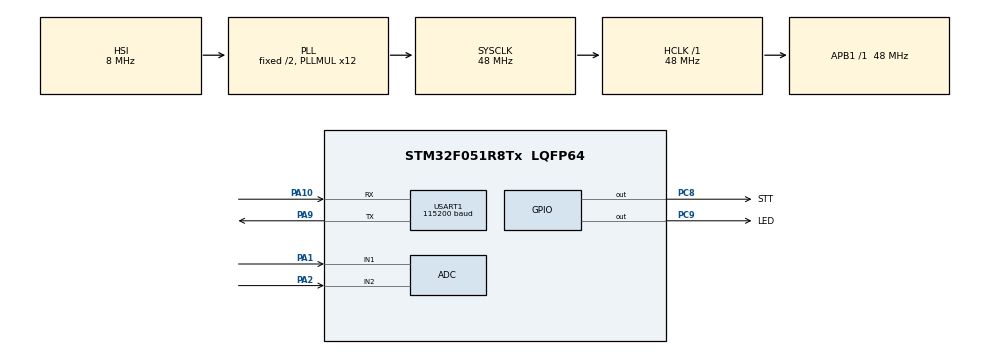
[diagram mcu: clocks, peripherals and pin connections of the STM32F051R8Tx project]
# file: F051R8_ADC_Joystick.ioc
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Mcu.Family=STM32F0
PA10.Mode=Asynchronous
Dma.ADC.0.Mode=DMA_CIRCULAR
PC9.GPIO_Label=LED
USART1.BaudRate=115200
PA14.GPIO_Label=SWCLK
PC8.Signal=GPIO_Output
Dma.ADC.0.Priority=DMA_PRIORITY_LOW
RCC.SYSCLKSource=RCC_SYSCLKSOURCE_PLLCLK
ProjectManager.StackSize=0x400
Dma.ADC.0.PeriphDataAlignment=DMA_PDATAALIGN_HALFWORD
PC8.GPIO_Label=STT
USART1.VirtualMode-Asynchronous=VM_ASYNC
PA13.Signal=SYS_SWDIO
PA9.Mode=Asynchronous
ProjectManager.TargetToolchain=STM32CubeIDE
Dma.ADC.0.PeriphInc=DMA_PINC_DISABLE
RCC.HCLKFreq_Value=48000000
PA9.Signal=USART1_TX
PA1.Signal=ADC_IN1
RCC.AHBFreq_Value=48000000
Dma.ADC.0.Direction=DMA_PERIPH_TO_MEMORY
ADC.SamplingTime=ADC_SAMPLETIME_239CYCLES_5
ADC.DMAContinuousRequests=ENABLE
board=STM32F0DISCOVERY
RCC.PLLMUL=RCC_PLL_MUL12
PA1.Mode=IN1
PA14.Mode=Serial_Wire
ADC.EOCSelection=ADC_EOC_SEQ_CONV
PA13.Mode=Serial_Wire
Mcu.Name=STM32F051R8Tx
PA2.Signal=ADC_IN2
PA13.GPIO_Label=SWDIO
Dma.ADC.0.MemInc=DMA_MINC_ENABLE
RCC.SYSCLKFreq_VALUE=48000000
Mcu.Package=LQFP64
Dma.ADC.0.Instance=DMA1_Channel1
PA10.Signal=USART1_RX
PA14.Signal=SYS_SWCLK
ProjectManager.HeapSize=0x200
Dma.ADC.0.MemDataAlignment=DMA_MDATAALIGN_HALFWORD
RCC.APB1TimFreq_Value=48000000
PA2.Mode=IN2
PC9.Signal=GPIO_Output
NVIC.DMA1_Channel1_IRQn=true\:0\:0\:false\:false\:true\:false\:true
NVIC.USART1_IRQn=true\:0\:0\:false\:false\:true\:true\:true
Dma.Request0=ADC
RCC.APB1Freq_Value=48000000
ADC.ContinuousConvMode=ENABLE

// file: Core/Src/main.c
/* USER CODE BEGIN Header */
/**
  ******************************************************************************
  * @file           : main.c
  * @brief          : Main program body
  ******************************************************************************
  * @attention
  *
  * <h2><center>&copy; Copyright (c) 2021 STMicroelectronics.
  * All rights reserved.</center></h2>
  *
  * This software component is licensed by ST under BSD 3-Clause license,
  * the "License"; You may not use this file except in compliance with the
  * License. You may obtain a copy of the License at:
  *                        opensource.org/licenses/BSD-3-Clause
  *
  ******************************************************************************
  */
/* USER CODE END Header */
#include "main.h"

/* USER CODE BEGIN Includes */
#include <stdio.h>
#include <string.h>
/* USER CODE END Includes */

/* USER CODE BEGIN PD */
#define ADC_1_CH_SINGLE_MODE
//#define ADC_N_CH_SINGLE_MODE
//#define ADC_1_CH_CONTINUOUS_MODE
//#define ADC_N_CH_CONTINUOUS_MODE
//#define ADC_USE_DMA
//#define ADC_OUTPUT_RAW
/* USER CODE END PD */

ADC_HandleTypeDef hadc;
DMA_HandleTypeDef hdma_adc;

UART_HandleTypeDef huart1;

/* USER CODE BEGIN PV */
#define JS_X 0
#define JS_Y 1
uint16_t joystick[2] = {0};
char buffer[12] = {0}; // xxxx,yyyy\r\n
/* USER CODE END PV */

void SystemClock_Config(void);
static void MX_GPIO_Init(void);
static void MX_DMA_Init(void);
static void MX_ADC_Init(void);
static void MX_USART1_UART_Init(void);

/* USER CODE BEGIN 0 */
void MX_ADC_Init_Single_Conversion(void)
{
  /** Configure the global features of the ADC
      (Clock, Resolution, Data Alignment and number of conversion) */
  hadc.Instance = ADC1;
  hadc.Init.ClockPrescaler = ADC_CLOCK_ASYNC_DIV1;
  hadc.Init.Resolution = ADC_RESOLUTION_12B;
  hadc.Init.DataAlign = ADC_DATAALIGN_RIGHT;
  hadc.Init.ScanConvMode = ADC_SCAN_DIRECTION_FORWARD;
  hadc.Init.EOCSelection = ADC_EOC_SINGLE_CONV;
  hadc.Init.LowPowerAutoWait = DISABLE;
  hadc.Init.LowPowerAutoPowerOff = DISABLE;
  hadc.Init.ContinuousConvMode = DISABLE;
  hadc.Init.DiscontinuousConvMode = DISABLE;
  hadc.Init.ExternalTrigConv = ADC_SOFTWARE_START;
  hadc.Init.ExternalTrigConvEdge = ADC_EXTERNALTRIGCONVEDGE_NONE;
  hadc.Init.DMAContinuousRequests = DISABLE;
  hadc.Init.Overrun = ADC_OVR_DATA_PRESERVED;
  if (HAL_ADC_Init(&hadc) != HAL_OK)
  {
    Error_Handler();
  }
}

void MX_ADC_Init_Continuous_Conversion(void)
{
  hadc.Instance = ADC1;
  hadc.Init.ClockPrescaler = ADC_CLOCK_ASYNC_DIV1;
  hadc.Init.Resolution = ADC_RESOLUTION_12B;
  hadc.Init.DataAlign = ADC_DATAALIGN_RIGHT;
  hadc.Init.ScanConvMode = ADC_SCAN_DIRECTION_FORWARD;
  hadc.Init.EOCSelection = ADC_EOC_SEQ_CONV;
  hadc.Init.LowPowerAutoWait = DISABLE;
  hadc.Init.LowPowerAutoPowerOff = DISABLE;
  hadc.Init.ContinuousConvMode = ENABLE;
  hadc.Init.DiscontinuousConvMode = DISABLE;
  hadc.Init.ExternalTrigConv = ADC_SOFTWARE_START;
  hadc.Init.ExternalTrigConvEdge = ADC_EXTERNALTRIGCONVEDGE_NONE;
  hadc.Init.DMAContinuousRequests = ENABLE;
  hadc.Init.Overrun = ADC_OVR_DATA_PRESERVED;
  if (HAL_ADC_Init(&hadc) != HAL_OK)
  {
    Error_Handler();
  }
}

void Add_ADC_Channel(ADC_HandleTypeDef* hadc, uint32_t channel, uint32_t sampling_time) {
  ADC_ChannelConfTypeDef sConfig = {0};
  /** Configure for the selected ADC regular channel to be converted. */
  sConfig.Channel = channel;
  sConfig.Rank = ADC_RANK_CHANNEL_NUMBER;
  sConfig.SamplingTime = sampling_time;
  if (HAL_ADC_ConfigChannel(hadc, &sConfig) != HAL_OK)
  {
    Error_Handler();
  }
}

uint32_t Read_ADC_Channel(ADC_HandleTypeDef* hadc, uint32_t channel, uint32_t sampling_time) {
  uint32_t adc_value = 0;
  // clear all channel
  hadc->Instance->CHSELR = 0;
  Add_ADC_Channel(hadc, channel, sampling_time);
  // read
  HAL_ADC_Start(hadc);
  HAL_ADC_PollForConversion(hadc, HAL_MAX_DELAY);
  adc_value = HAL_ADC_GetValue(hadc);
  HAL_ADC_Stop(hadc);
  // clear all channel
  hadc->Instance->CHSELR = 0;
  // return
  return adc_value;
}

void HAL_ADC_ConvCpltCallback(ADC_HandleTypeDef* hadc) {
  HAL_GPIO_TogglePin(STT_GPIO_Port, STT_Pin);
}
/* USER CODE END 0 */

int main(void)
{

  /* MCU Configuration--------------------------------------------------------*/

  /* Reset of all peripherals, Initializes the Flash interface and the Systick. */
  HAL_Init();

  /* Configure the system clock */
  SystemClock_Config();

  /* Initialize all configured peripherals */
  MX_GPIO_Init();
  MX_DMA_Init();
  MX_ADC_Init();
  MX_USART1_UART_Init();
  /* USER CODE BEGIN 2 */
#if defined(ADC_1_CH_SINGLE_MODE) || defined(ADC_N_CH_SINGLE_MODE)
  MX_ADC_Init_Single_Conversion();
#endif
  /* USER CODE END 2 */
#if defined(ADC_1_CH_CONTINUOUS_MODE) || defined(ADC_N_CH_CONTINUOUS_MODE)
  MX_ADC_Init_Continuous_Conversion();
#endif
  // clear all channel
  (&hadc)->Instance->CHSELR = 0;
  /* Infinite loop */
  /* USER CODE BEGIN WHILE */
#if defined(ADC_N_CH_SINGLE_MODE) || defined(ADC_N_CH_CONTINUOUS_MODE)
  Add_ADC_Channel(&hadc, ADC_CHANNEL_1, ADC_SAMPLETIME_239CYCLES_5);
  Add_ADC_Channel(&hadc, ADC_CHANNEL_2, ADC_SAMPLETIME_239CYCLES_5);
#endif

#if defined(ADC_1_CH_CONTINUOUS_MODE)
  Add_ADC_Channel(&hadc, ADC_CHANNEL_1, ADC_SAMPLETIME_239CYCLES_5);
#endif

#if defined(ADC_1_CH_SINGLE_MODE) || defined(ADC_N_CH_SINGLE_MODE) || \
    defined(ADC_1_CH_CONTINUOUS_MODE) || defined(ADC_N_CH_CONTINUOUS_MODE)
  HAL_ADCEx_Calibration_Start(&hadc);
#endif

#if defined(ADC_1_CH_CONTINUOUS_MODE)
  HAL_ADC_Start_DMA(&hadc, (uint32_t*)joystick, 1);
#endif

#if defined(ADC_N_CH_CONTINUOUS_MODE)
  HAL_ADC_Start_DMA(&hadc, (uint32_t*)joystick, 2);
#endif

  while (1)
  {
#ifdef ADC_1_CH_SINGLE_MODE
    HAL_GPIO_TogglePin(LED_GPIO_Port, LED_Pin);
    joystick[JS_X] = Read_ADC_Channel(&hadc, ADC_CHANNEL_1, ADC_SAMPLETIME_239CYCLES_5);
    joystick[JS_Y] = Read_ADC_Channel(&hadc, ADC_CHANNEL_2, ADC_SAMPLETIME_239CYCLES_5);
#endif

#ifdef ADC_N_CH_SINGLE_MODE
    HAL_GPIO_TogglePin(LED_GPIO_Port, LED_Pin);
    HAL_ADC_Start(&hadc);
    HAL_ADC_PollForConversion(&hadc, HAL_MAX_DELAY);
    joystick[JS_X] = HAL_ADC_GetValue(&hadc);
    HAL_ADC_PollForConversion(&hadc, HAL_MAX_DELAY);
    joystick[JS_Y] = HAL_ADC_GetValue(&hadc);
    HAL_ADC_Stop(&hadc);
#endif

#ifdef ADC_OUTPUT_RAW
    HAL_UART_Transmit_IT(&huart1, (uint8_t*)joystick, 4);
#else
    sprintf(buffer, "%u,%u\r\n", joystick[JS_X], joystick[JS_Y]);
    HAL_UART_Transmit(&huart1, (uint8_t*)buffer, strlen(buffer), HAL_MAX_DELAY);
#endif

//    HAL_GPIO_TogglePin(STT_GPIO_Port, STT_Pin);
    HAL_Delay(20);
    /* USER CODE END WHILE */

  }
}

void SystemClock_Config(void)
{
  RCC_OscInitTypeDef RCC_OscInitStruct = {0};
  RCC_ClkInitTypeDef RCC_ClkInitStruct = {0};
  RCC_PeriphCLKInitTypeDef PeriphClkInit = {0};

  /** Initializes the RCC Oscillators according to the specified parameters
  * in the RCC_OscInitTypeDef structure.
  */
  RCC_OscInitStruct.OscillatorType = RCC_OSCILLATORTYPE_HSI|RCC_OSCILLATORTYPE_HSI14;
  RCC_OscInitStruct.HSIState = RCC_HSI_ON;
  RCC_OscInitStruct.HSI14State = RCC_HSI14_ON;
  RCC_OscInitStruct.HSICalibrationValue = RCC_HSICALIBRATION_DEFAULT;
  RCC_OscInitStruct.HSI14CalibrationValue = 16;
  RCC_OscInitStruct.PLL.PLLState = RCC_PLL_ON;
  RCC_OscInitStruct.PLL.PLLSource = RCC_PLLSOURCE_HSI;
  RCC_OscInitStruct.PLL.PLLMUL = RCC_PLL_MUL12;
  RCC_OscInitStruct.PLL.PREDIV = RCC_PREDIV_DIV1;
  if (HAL_RCC_OscConfig(&RCC_OscInitStruct) != HAL_OK)
  {
    Error_Handler();
  }
  /** Initializes the CPU, AHB and APB buses clocks
  */
  RCC_ClkInitStruct.ClockType = RCC_CLOCKTYPE_HCLK|RCC_CLOCKTYPE_SYSCLK
                              |RCC_CLOCKTYPE_PCLK1;
  RCC_ClkInitStruct.SYSCLKSource = RCC_SYSCLKSOURCE_PLLCLK;
  RCC_ClkInitStruct.AHBCLKDivider = RCC_SYSCLK_DIV1;
  RCC_ClkInitStruct.APB1CLKDivider = RCC_HCLK_DIV1;

  if (HAL_RCC_ClockConfig(&RCC_ClkInitStruct, FLASH_LATENCY_1) != HAL_OK)
  {
    Error_Handler();
  }
  PeriphClkInit.PeriphClockSelection = RCC_PERIPHCLK_USART1;
  PeriphClkInit.Usart1ClockSelection = RCC_USART1CLKSOURCE_PCLK1;
  if (HAL_RCCEx_PeriphCLKConfig(&PeriphClkInit) != HAL_OK)
  {
    Error_Handler();
  }
}

static void MX_ADC_Init(void)
{

  ADC_ChannelConfTypeDef sConfig = {0};

  /** Configure the global features of the ADC (Clock, Resolution, Data Alignment and number of conversion)
  */
  hadc.Instance = ADC1;
  hadc.Init.ClockPrescaler = ADC_CLOCK_ASYNC_DIV1;
  hadc.Init.Resolution = ADC_RESOLUTION_12B;
  hadc.Init.DataAlign = ADC_DATAALIGN_RIGHT;
  hadc.Init.ScanConvMode = ADC_SCAN_DIRECTION_FORWARD;
  hadc.Init.EOCSelection = ADC_EOC_SEQ_CONV;
  hadc.Init.LowPowerAutoWait = DISABLE;
  hadc.Init.LowPowerAutoPowerOff = DISABLE;
  hadc.Init.ContinuousConvMode = ENABLE;
  hadc.Init.DiscontinuousConvMode = DISABLE;
  hadc.Init.ExternalTrigConv = ADC_SOFTWARE_START;
  hadc.Init.ExternalTrigConvEdge = ADC_EXTERNALTRIGCONVEDGE_NONE;
  hadc.Init.DMAContinuousRequests = ENABLE;
  hadc.Init.Overrun = ADC_OVR_DATA_PRESERVED;
  if (HAL_ADC_Init(&hadc) != HAL_OK)
  {
    Error_Handler();
  }
  /** Configure for the selected ADC regular channel to be converted.
  */
  sConfig.Channel = ADC_CHANNEL_1;
  sConfig.Rank = ADC_RANK_CHANNEL_NUMBER;
  sConfig.SamplingTime = ADC_SAMPLETIME_239CYCLES_5;
  if (HAL_ADC_ConfigChannel(&hadc, &sConfig) != HAL_OK)
  {
    Error_Handler();
  }
  /** Configure for the selected ADC regular channel to be converted.
  */
  sConfig.Channel = ADC_CHANNEL_2;
  if (HAL_ADC_ConfigChannel(&hadc, &sConfig) != HAL_OK)
  {
    Error_Handler();
  }

}

static void MX_USART1_UART_Init(void)
{

  huart1.Instance = USART1;
  huart1.Init.BaudRate = 115200;
  huart1.Init.WordLength = UART_WORDLENGTH_8B;
  huart1.Init.StopBits = UART_STOPBITS_1;
  huart1.Init.Parity = UART_PARITY_NONE;
  huart1.Init.Mode = UART_MODE_TX_RX;
  huart1.Init.HwFlowCtl = UART_HWCONTROL_NONE;
  huart1.Init.OverSampling = UART_OVERSAMPLING_16;
  huart1.Init.OneBitSampling = UART_ONE_BIT_SAMPLE_DISABLE;
  huart1.AdvancedInit.AdvFeatureInit = UART_ADVFEATURE_NO_INIT;
  if (HAL_UART_Init(&huart1) != HAL_OK)
  {
    Error_Handler();
  }

}

static void MX_DMA_Init(void)
{

  /* DMA controller clock enable */
  __HAL_RCC_DMA1_CLK_ENABLE();

  /* DMA interrupt init */
  /* DMA1_Channel1_IRQn interrupt configuration */
  HAL_NVIC_SetPriority(DMA1_Channel1_IRQn, 0, 0);
  HAL_NVIC_EnableIRQ(DMA1_Channel1_IRQn);

}

static void MX_GPIO_Init(void)
{
  GPIO_InitTypeDef GPIO_InitStruct = {0};

  /* GPIO Ports Clock Enable */
  __HAL_RCC_GPIOA_CLK_ENABLE();
  __HAL_RCC_GPIOC_CLK_ENABLE();

  /*Configure GPIO pin Output Level */
  HAL_GPIO_WritePin(GPIOC, STT_Pin|LED_Pin, GPIO_PIN_RESET);

  /*Configure GPIO pins : STT_Pin LED_Pin */
  GPIO_InitStruct.Pin = STT_Pin|LED_Pin;
  GPIO_InitStruct.Mode = GPIO_MODE_OUTPUT_PP;
  GPIO_InitStruct.Pull = GPIO_NOPULL;
  GPIO_InitStruct.Speed = GPIO_SPEED_FREQ_LOW;
  HAL_GPIO_Init(GPIOC, &GPIO_InitStruct);

}

void Error_Handler(void)
{
  __disable_irq();
  while (1)
  {
  }
}

/************************ (C) COPYRIGHT STMicroelectronics *****END OF FILE****/
